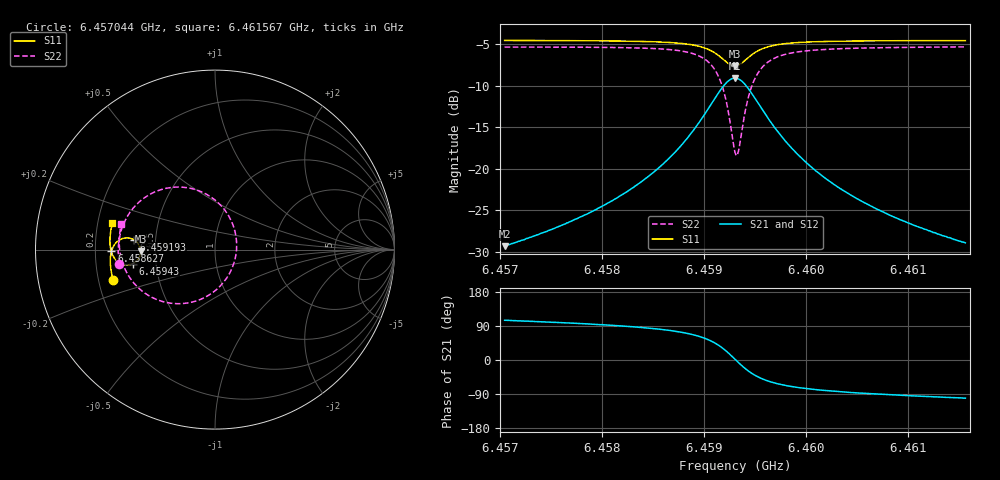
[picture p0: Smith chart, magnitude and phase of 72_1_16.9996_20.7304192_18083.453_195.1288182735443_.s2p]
#  HZ  S  RI  R  50.00
! Rohde & Schwarz Vector Network Analyzer
! Rohde-Schwarz,ZNB20-2Port,1311601062101988,3.16
! Created: UTC 3/20/2024, 10:55:15 PM
! freq[Hz]  re:S11  im:S11  re:S21  im:S21  re:S12  im:S12  re:S22  im:S22
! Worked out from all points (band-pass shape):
!   401 points, 6.457044 GHz to 6.461567 GHz, reference 50 ohm
!   highest |S21| = -9.09 dB at 6.459306 GHz (marker M1); lowest = -29.3 dB at 6.457044 GHz (marker M2)
!   |S21| within 3 dB of the highest: 6.459079 GHz to 6.459532 GHz (452.1 kHz wide, 0.007 % of centre)
!   lowest |S11| = -7.6 dB at 6.459306 GHz (marker M3), VSWR 2.42, Z = 20.7 - j0.517 ohm
!   |S11| at or under -10 dB: nowhere
!   |S22| runs from -18.4 to -5.3 dB; largest |S21 - S12| = 0.014
!   S11 on the Smith chart (normalised r, x): 6.457044 GHz: 0.26, -0.14; 6.458627 GHz: 0.27, -0.01; 6.459193 GHz: 0.38, +0.05; 6.45943 GHz: 0.37, -0.07; 6.461567 GHz: 0.26, +0.12
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6.457044e9  -0.5675 -0.1684  -0.00874 0.033  -0.007 0.0331  -0.5346 -0.0779
6.4578017e9  -0.5809 -0.1018  -0.00526 0.0512  -0.00275 0.0507  -0.5388 0.0118
6.4582201e9  -0.5836 -0.0595  0.000881 0.0709  0.00409 0.0696  -0.5299 0.079
6.4585594e9  -0.5794 -0.0185  0.0151 0.1002  0.019 0.0975  -0.5034 0.1568
6.4586272e9  -0.5771 -0.00904  0.0206 0.1088  0.0246 0.1055  -0.4931 0.177
6.4588195e9  -0.5642 0.0215  0.0478 0.1402  0.0517 0.1351  -0.4421 0.2465
6.4589665e9  -0.5411 0.0478  0.0939 0.1707  0.097 0.1641  -0.3569 0.3107
6.4591022e9  -0.4964 0.0651  0.1825 0.1871  0.1834 0.1798  -0.1949 0.3483
6.4591926e9  -0.4509 0.0544  0.2739 0.1548  0.2741 0.1491  -0.0263 0.2954
6.4592605e9  -0.4214 0.0215  0.3348 0.0813  0.337 0.076  0.0895 0.1626
6.4593057e9  -0.4145 -0.0103  0.3509 0.0122  0.3547 0.00523  0.1208 0.0334
6.4593396e9  -0.4186 -0.0344  0.3446 -0.041  0.3486 -0.0503  0.108 -0.0674
6.4593849e9  -0.4347 -0.0609  0.3153 -0.1015  0.3175 -0.1136  0.0481 -0.1815
6.4594301e9  -0.4571 -0.0776  0.2722 -0.1428  0.2714 -0.1562  -0.0389 -0.2564
6.4595206e9  -0.5012 -0.0846  0.186 -0.1738  0.1799 -0.1855  -0.2103 -0.3014
6.4595884e9  -0.5259 -0.0774  0.1371 -0.1715  0.129 -0.1806  -0.3045 -0.2855
6.4596676e9  -0.5458 -0.0641  0.0971 -0.1592  0.0884 -0.1657  -0.3795 -0.25
6.4598259e9  -0.5677 -0.0363  0.0517 -0.1308  0.044 -0.1336  -0.4601 -0.1768
6.4600634e9  -0.5807 -0.000851  0.0224 -0.0986  0.0164 -0.0993  -0.5081 -0.0935
6.4604026e9  -0.5855 0.0399  0.00626 -0.0715  0.00215 -0.0709  -0.5294 -0.0139
6.460821e9  -0.5838 0.0822  -0.00131 -0.0525  -0.0044 -0.0518  -0.5335 0.0539
6.4615674e9  -0.5719 0.1487  -0.00667 -0.0351  -0.00841 -0.0342  -0.5221 0.1431
